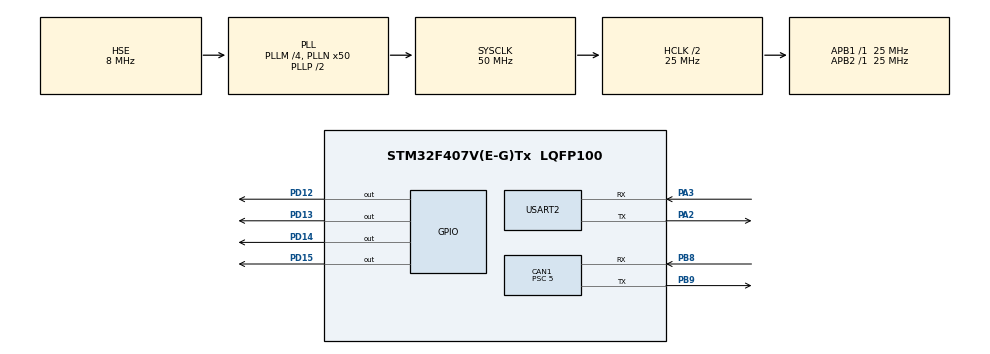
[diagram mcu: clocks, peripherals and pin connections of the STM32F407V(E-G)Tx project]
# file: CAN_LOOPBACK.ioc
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CAN1.ABOM=ENABLE
CAN1.BS1=CAN_BS1_8TQ
CAN1.CalculateTimeQuantum=200.0
CAN1.Mode=CAN_MODE_LOOPBACK
CAN1.NART=ENABLE
CAN1.Prescaler=5
Mcu.Family=STM32F4
Mcu.Name=STM32F407V(E-G)Tx
Mcu.Package=LQFP100
NVIC.PriorityGroup=NVIC_PRIORITYGROUP_4
PA13.Mode=Serial_Wire
PA13.Signal=SYS_JTMS-SWDIO
PA14.Mode=Serial_Wire
PA14.Signal=SYS_JTCK-SWCLK
PA2.Mode=Asynchronous
PA2.Signal=USART2_TX
PA3.Mode=Asynchronous
PA3.Signal=USART2_RX
PB8.Mode=Master
PB8.Signal=CAN1_RX
PB9.Mode=Master
PB9.Signal=CAN1_TX
PD12.Signal=GPIO_Output
PD13.Signal=GPIO_Output
PD14.Signal=GPIO_Output
PD15.Signal=GPIO_Output
PH0-OSC_IN.Mode=HSE-External-Oscillator
PH0-OSC_IN.Signal=RCC_OSC_IN
PH1-OSC_OUT.Mode=HSE-External-Oscillator
PH1-OSC_OUT.Signal=RCC_OSC_OUT
ProjectManager.HeapSize=0x200
ProjectManager.StackSize=0x400
ProjectManager.TargetToolchain=STM32CubeIDE
RCC.48MHZClocksFreq_Value=25000000
RCC.AHBCLKDivider=RCC_SYSCLK_DIV2
RCC.AHBFreq_Value=25000000
RCC.APB1Freq_Value=25000000
RCC.APB1TimFreq_Value=25000000
RCC.APB2Freq_Value=25000000
RCC.APB2TimFreq_Value=25000000
RCC.CortexFreq_Value=25000000
RCC.HCLKFreq_Value=25000000
RCC.HSE_VALUE=8000000
RCC.HSI_VALUE=16000000
RCC.LSE_VALUE=32768
RCC.PLLM=4
RCC.PLLN=50
RCC.PLLSourceVirtual=RCC_PLLSOURCE_HSE
RCC.SYSCLKFreq_VALUE=50000000
RCC.SYSCLKSource=RCC_SYSCLKSOURCE_PLLCLK
RCC.VCOOutputFreq_Value=100000000
USART2.VirtualMode=VM_ASYNC
board=custom

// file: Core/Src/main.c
/* USER CODE BEGIN Header */
/**
  ******************************************************************************
  * @file           : main.c
  * @brief          : Main program body
  ******************************************************************************
  * @attention
  *
  * <h2><center>&copy; Copyright (c) 2021 STMicroelectronics.
  * All rights reserved.</center></h2>
  *
  * This software component is licensed by ST under BSD 3-Clause license,
  * the "License"; You may not use this file except in compliance with the
  * License. You may obtain a copy of the License at:
  *                        opensource.org/licenses/BSD-3-Clause
  *
  ******************************************************************************
  */
#include <string.h>
#include <stdio.h>
/* USER CODE END Header */
#include "main.h"

CAN_HandleTypeDef hcan1;

UART_HandleTypeDef huart2;

void SystemClock_Config(void);
static void MX_GPIO_Init(void);
static void MX_CAN1_Init(void);
static void MX_USART2_UART_Init(void);
/* USER CODE BEGIN PFP */
void Error_handler(void);
void CAN1_Tx(void);
void CAN1_Rx(void);
void CAN_Filter_Config(void);
/* USER CODE END PFP */

/* USER CODE BEGIN 0 */
char *data = "dinh dai ca\r\n";
/* USER CODE END 0 */

int main(void)
{

  /* MCU Configuration--------------------------------------------------------*/

  /* Reset of all peripherals, Initializes the Flash interface and the Systick. */
  HAL_Init();

  /* Configure the system clock */
  SystemClock_Config();

  /* Initialize all configured peripherals */
  MX_GPIO_Init();
  MX_CAN1_Init();
  MX_USART2_UART_Init();
  /* USER CODE BEGIN 2 */

	HAL_UART_Transmit(&huart2, (uint8_t*)data, strlen(data), HAL_MAX_DELAY);
	//CAN_Filter_Config();

	if( HAL_CAN_Start(&hcan1) != HAL_OK)
	{
		Error_handler();
	}

	CAN1_Tx();

	//CAN1_Rx();

  /* USER CODE END 2 */

  /* Infinite loop */
  while (1)
  {

    /* USER CODE BEGIN 3 */
	HAL_GPIO_TogglePin(GPIOD, GPIO_PIN_14);

	HAL_Delay(1000);
  }
  /* USER CODE END 3 */
}

void SystemClock_Config(void)
{
  RCC_OscInitTypeDef RCC_OscInitStruct = {0};
  RCC_ClkInitTypeDef RCC_ClkInitStruct = {0};

  /** Configure the main internal regulator output voltage
  */
  __HAL_RCC_PWR_CLK_ENABLE();
  __HAL_PWR_VOLTAGESCALING_CONFIG(PWR_REGULATOR_VOLTAGE_SCALE1);
  /** Initializes the RCC Oscillators according to the specified parameters
  * in the RCC_OscInitTypeDef structure.
  */
  RCC_OscInitStruct.OscillatorType = RCC_OSCILLATORTYPE_HSE;
  RCC_OscInitStruct.HSEState = RCC_HSE_ON;
  RCC_OscInitStruct.PLL.PLLState = RCC_PLL_ON;
  RCC_OscInitStruct.PLL.PLLSource = RCC_PLLSOURCE_HSE;
  RCC_OscInitStruct.PLL.PLLM = 4;
  RCC_OscInitStruct.PLL.PLLN = 50;
  RCC_OscInitStruct.PLL.PLLP = RCC_PLLP_DIV2;
  RCC_OscInitStruct.PLL.PLLQ = 4;
  if (HAL_RCC_OscConfig(&RCC_OscInitStruct) != HAL_OK)
  {
    Error_Handler();
  }
  /** Initializes the CPU, AHB and APB buses clocks
  */
  RCC_ClkInitStruct.ClockType = RCC_CLOCKTYPE_HCLK|RCC_CLOCKTYPE_SYSCLK
                              |RCC_CLOCKTYPE_PCLK1|RCC_CLOCKTYPE_PCLK2;
  RCC_ClkInitStruct.SYSCLKSource = RCC_SYSCLKSOURCE_PLLCLK;
  RCC_ClkInitStruct.AHBCLKDivider = RCC_SYSCLK_DIV2;
  RCC_ClkInitStruct.APB1CLKDivider = RCC_HCLK_DIV1;
  RCC_ClkInitStruct.APB2CLKDivider = RCC_HCLK_DIV1;

  if (HAL_RCC_ClockConfig(&RCC_ClkInitStruct, FLASH_LATENCY_0) != HAL_OK)
  {
    Error_Handler();
  }
}

static void MX_CAN1_Init(void)
{

  hcan1.Instance = CAN1;
  hcan1.Init.Prescaler = 5;
  hcan1.Init.Mode = CAN_MODE_LOOPBACK;
  hcan1.Init.SyncJumpWidth = CAN_SJW_1TQ;
  hcan1.Init.TimeSeg1 = CAN_BS1_8TQ;
  hcan1.Init.TimeSeg2 = CAN_BS2_1TQ;
  hcan1.Init.TimeTriggeredMode = DISABLE;
  hcan1.Init.AutoBusOff = ENABLE;
  hcan1.Init.AutoWakeUp = DISABLE;
  hcan1.Init.AutoRetransmission = ENABLE;
  hcan1.Init.ReceiveFifoLocked = DISABLE;
  hcan1.Init.TransmitFifoPriority = DISABLE;
  if (HAL_CAN_Init(&hcan1) != HAL_OK)
  {
    Error_Handler();
  }

}

static void MX_USART2_UART_Init(void)
{

  huart2.Instance = USART2;
  huart2.Init.BaudRate = 115200;
  huart2.Init.WordLength = UART_WORDLENGTH_8B;
  huart2.Init.StopBits = UART_STOPBITS_1;
  huart2.Init.Parity = UART_PARITY_NONE;
  huart2.Init.Mode = UART_MODE_TX_RX;
  huart2.Init.HwFlowCtl = UART_HWCONTROL_NONE;
  huart2.Init.OverSampling = UART_OVERSAMPLING_16;
  if (HAL_UART_Init(&huart2) != HAL_OK)
  {
    Error_Handler();
  }

}

static void MX_GPIO_Init(void)
{
  GPIO_InitTypeDef GPIO_InitStruct = {0};

  /* GPIO Ports Clock Enable */
  __HAL_RCC_GPIOH_CLK_ENABLE();
  __HAL_RCC_GPIOA_CLK_ENABLE();
  __HAL_RCC_GPIOD_CLK_ENABLE();
  __HAL_RCC_GPIOB_CLK_ENABLE();

  /*Configure GPIO pin Output Level */
  HAL_GPIO_WritePin(GPIOD, GPIO_PIN_12|GPIO_PIN_13|GPIO_PIN_14|GPIO_PIN_15, GPIO_PIN_RESET);

  /*Configure GPIO pins : PD12 PD13 PD14 PD15 */
  GPIO_InitStruct.Pin = GPIO_PIN_12|GPIO_PIN_13|GPIO_PIN_14|GPIO_PIN_15;
  GPIO_InitStruct.Mode = GPIO_MODE_OUTPUT_PP;
  GPIO_InitStruct.Pull = GPIO_NOPULL;
  GPIO_InitStruct.Speed = GPIO_SPEED_FREQ_LOW;
  HAL_GPIO_Init(GPIOD, &GPIO_InitStruct);

}

/* USER CODE BEGIN 4 */
void CAN1_Tx(void)
{
	char msg[50];

	CAN_TxHeaderTypeDef TxHeader;

	uint32_t TxMailbox;

	uint8_t our_message[5] = {'H','E','L','L','O'};

	TxHeader.DLC = 5;
	TxHeader.StdId = 0x65D;
	TxHeader.IDE   = CAN_ID_STD;
	TxHeader.RTR = CAN_RTR_DATA;

	if( HAL_CAN_AddTxMessage(&hcan1,&TxHeader,our_message,&TxMailbox) != HAL_OK)
	{
		Error_handler();
	}

	while( HAL_CAN_IsTxMessagePending(&hcan1,TxMailbox));

	sprintf(msg,"Message Transmitted\r\n");
	HAL_UART_Transmit(&huart2,(uint8_t*)msg,strlen(msg),HAL_MAX_DELAY);

}
void CAN1_Rx(void)
{
	CAN_RxHeaderTypeDef RxHeader;
	uint8_t rcvd_msg[5];

	char msg[50];

	//we are waiting for at least one message in to the RX FIFO0
	while(! HAL_CAN_GetRxFifoFillLevel(&hcan1,CAN_RX_FIFO0));

	if(HAL_CAN_GetRxMessage(&hcan1,CAN_RX_FIFO0,&RxHeader,rcvd_msg) != HAL_OK)
	{
		Error_handler();
	}

	sprintf(msg,"Message Received : %s\r\n",rcvd_msg);

	HAL_UART_Transmit(&huart2,(uint8_t*)msg,strlen(msg),HAL_MAX_DELAY);

}

void CAN_Filter_Config(void)
{
	CAN_FilterTypeDef can1_filter_init;

	can1_filter_init.FilterActivation = ENABLE;
	can1_filter_init.FilterBank  = 0;
	can1_filter_init.FilterFIFOAssignment = CAN_RX_FIFO0;
	can1_filter_init.FilterIdHigh = 0x0000;
	can1_filter_init.FilterIdLow = 0x0000;
	can1_filter_init.FilterMaskIdHigh = 0x0000;
	can1_filter_init.FilterMaskIdLow = 0x0000;
	can1_filter_init.FilterMode = CAN_FILTERMODE_IDMASK;
	can1_filter_init.FilterScale = CAN_FILTERSCALE_32BIT;

	if( HAL_CAN_ConfigFilter(&hcan1,&can1_filter_init) != HAL_OK)
	{
		Error_handler();
	}

}

void Error_handler(void)
{
	while(1);
}
/* USER CODE END 4 */

void Error_Handler(void)
{
}

/************************ (C) COPYRIGHT STMicroelectronics *****END OF FILE****/
